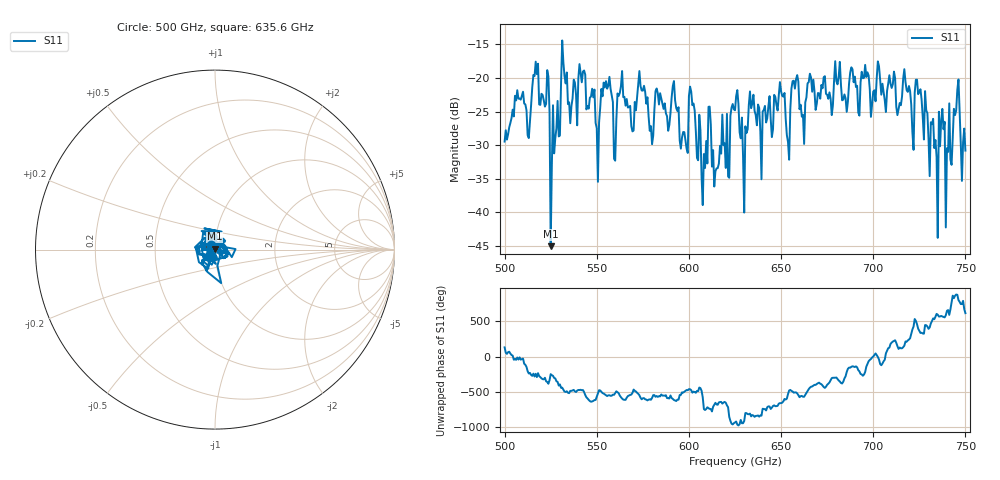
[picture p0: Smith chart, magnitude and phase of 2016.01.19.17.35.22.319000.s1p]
!Created with skrf (http://scikit-rf.org).
# GHz S RI R 50.0
!freq ReS11 ImS11
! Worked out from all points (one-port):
!   401 points, 500 GHz to 750 GHz, reference 50 ohm
!   lowest |S11| = -45.0 dB at 525 GHz (marker M1), VSWR 1.01, Z = 49.8 + j0.519 ohm
!   |S11| at or under -10 dB: start of sweep to end of sweep
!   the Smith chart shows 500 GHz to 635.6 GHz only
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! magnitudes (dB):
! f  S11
! 500 GHz  -29.5
! 513.1 GHz  -28.9
! 516.9 GHz  -17.6
! 525 GHz  -45.0
! 531.2 GHz  -14.4
! 541.9 GHz  -20.6
! 550.6 GHz  -35.4
! 553.8 GHz  -20.7
! 562.5 GHz  -22.2
! 593.8 GHz  -24.9
! 598.1 GHz  -29.3
! 601.2 GHz  -22.0
! 607.5 GHz  -38.9
! 610.6 GHz  -24.3
! 615 GHz  -33.4
! 625 GHz  -24.8
! 630.6 GHz  -27.2
! 633.8 GHz  -24.5
! 650.6 GHz  -22.7
! 653.8 GHz  -29.5
! 656.2 GHz  -20.5
! 687.5 GHz  -19.2
! 718.8 GHz  -22.1
! 733.8 GHz  -29.2
! 736.9 GHz  -26.3
! 740.6 GHz  -31.0
! 745 GHz  -24.8
! 750 GHz  -30.8
